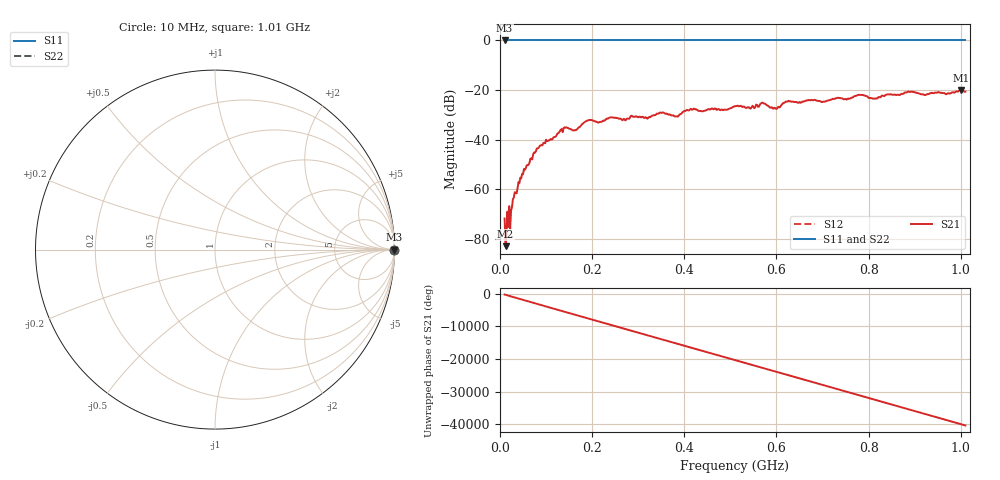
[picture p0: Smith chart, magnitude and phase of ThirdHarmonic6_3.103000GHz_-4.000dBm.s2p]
! 8/17/2025 9:09:31 AM
! C:\ANRITSUVNA\TEMP\TEMP.S2P
! CHANNEL.1
! TR.MEASUREMENT
! RAW.DATA
! RF.CORRECTION.OFF
! AVERAGING.OFF
! IF.BANDWIDTH: 5KHZ
! SWEEPTYPE:  FREQ.SWEEP(Linear)
! Reference Plane Port Info
! PORT:  PORT1  PORT2
! DISTANCE:  0  m  0  m
! TIME:  0  s  0  s
! PHASE.OFFSET:  0  deg.  0  deg.
! LOSS:  0  dB  0  dB
! REF.LOSS:  0  dB  0  dB
! REF.FREQ:  0  Hz  0  Hz
! Power Info
! POWER:  -20  dBm  -20  dBm
! EFF.POWER:  -20  dBm  -20  dBm
! SOURCE.ATTEN:  0  dB  0  dB
! TEST.ATTEN:  0  dB  0  dB
# GHZ S RI R 50.0
! FREQ.GHZ  S11RE  S11IM  S21RE  S21IM  S12RE  S12IM  S22RE  S22IM
!; PortSelection: Port_12
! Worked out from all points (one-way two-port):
!   501 points, 10 MHz to 1.01 GHz, reference 50 ohm
!   highest |S21| = -19.98 dB at 1 GHz (marker M1); lowest = -83.0 dB at 12 MHz (marker M2)
!   lowest |S11| = 0.0 dB at 10 MHz (marker M3)
!   |S11| at or under -10 dB: nowhere
!   |S22| runs from 0.0 to 0.0 dB; largest |S21 - S12| = 1.1
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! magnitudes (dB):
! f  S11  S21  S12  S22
! 10 MHz  0.0  -71.8  0.0  0.0
! 12 MHz  0.0  -83.0  0.0  0.0
! 18 MHz  0.0  -75.3  0.0  0.0
! 30 MHz  0.0  -63.3  0.0  0.0
! 44 MHz  0.0  -55.4  0.0  0.0
! 76 MHz  0.0  -45.3  0.0  0.0
! 142 MHz  0.0  -35.2  0.0  0.0
! 162 MHz  0.0  -36.3  0.0  0.0
! 178 MHz  0.0  -33.8  0.0  0.0
! 194 MHz  0.0  -32.1  0.0  0.0
! 318 MHz  0.0  -31.2  0.0  0.0
! 344 MHz  0.0  -29.5  0.0  0.0
! 382 MHz  0.0  -30.6  0.0  0.0
! 416 MHz  0.0  -27.9  0.0  0.0
! 510 MHz  0.0  -26.5  0.0  0.0
! 570 MHz  0.0  -25.1  0.0  0.0
! 598 MHz  0.0  -27.4  0.0  0.0
! 624 MHz  0.0  -24.7  0.0  0.0
! 678 MHz  0.0  -24.0  0.0  0.0
! 844 MHz  0.0  -21.7  0.0  0.0
! 1 GHz  0.0  -20.0  0.0  0.0
! 1.01 GHz  0.0  -20.6  0.0  0.0
